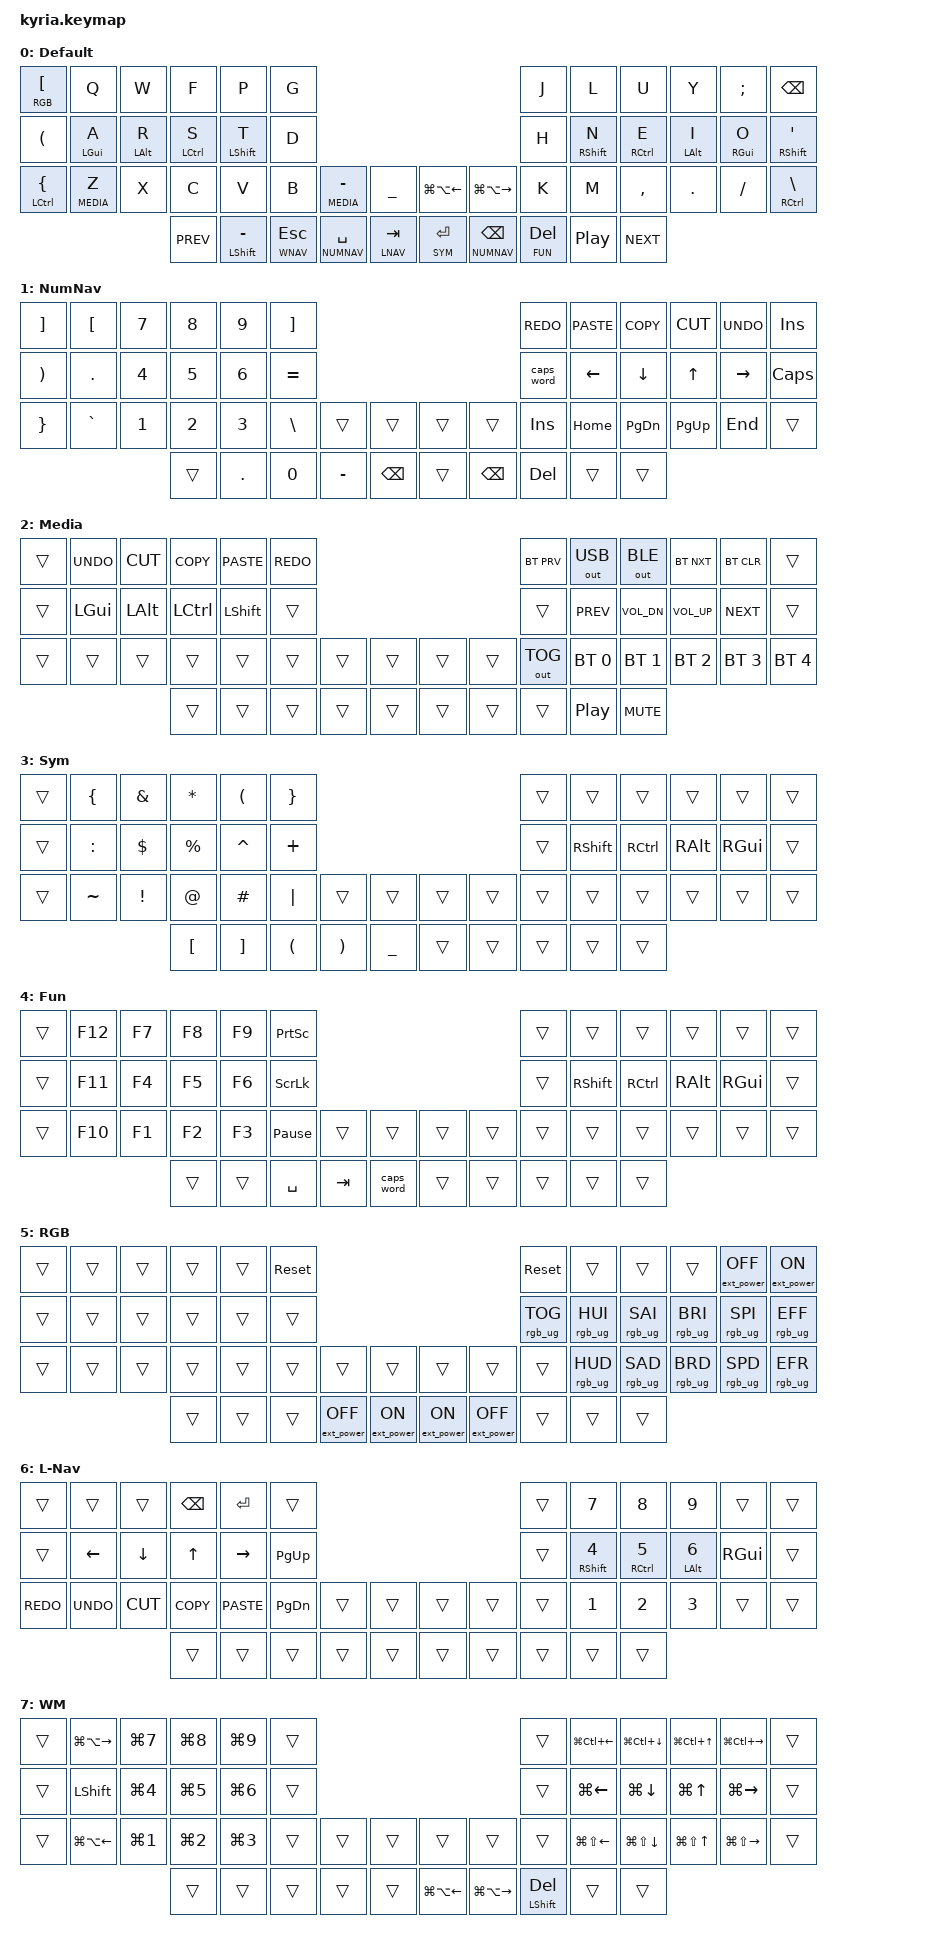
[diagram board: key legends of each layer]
/*
 * Miryoku Changes
 * ---------------
 * - No mouse layer
 * - Second row of thumb keys
 * - Extra column on left and right halves
 * - 2 Extra keys on bottom row each side
 * - DEFAULT
 *    - WNAV where MEDIA was
 *    - MEDIA to thumb top row
 *    - MEDIA replaces BUTTON
 *    - LSHFT and MINUS thumb row
 * - NAV
 *    - Merged with NUM layer, NUMNAV: Num left Nav right
 *    - Reorder Undo/Cut/Copy/Paste to match ZXCV
 *    - Move INS and CAPS to outer column bc rare keys, instead have browser back and forward
 *    - Add nav-swap for one-handed editing with mouse selection
 *    - Add BSPC and RET
 *    - Cut/Copy/Paste/Undo/Redo on left side as well
 * - FUN
 *    - caps_word thumb
 * - NUM
 *    - BSPC on left thumb
 *    - Replace SEMI with DOT bc its in an awful location and dont press SEMI when typing numbers
 *
 * Notes
 * -----
 * - Intentionally using Left Alt on the right because using software-side Colemak swap remaps this key sometimes
 *    - For linux, I have the software fix in place but doing this just in case for other OS's.
 *    - Not sure of any keybindings that rely on this directionality? Everything works with LA though so why not
 * - I have a strong dislike for Miryoku chosing to place Space/Tab on left and Backspace/Return on right along with no arrow keys on the left
 *    - I think this is motivated by gaming? I cant think of a reason
 *    - This seriously limits single hand operation when using mouse in the browser
 *    - I fear my muscle memory would make fixing this uncomfortable so a lot of my changes are trying to monkey patch this
 *
 *
 * Spaces Available for remaps
 * ---------------------------
 * - Default layer: 
 *    - Top right corner is BSPC, completely unused
 *    - DEL thumb key: just a rare key in a valuable place
 *    - Top row thumb keys on right
 *    - Tab is in a valuable place but a rare-ish key (editors autoindent or I use bindings)
 *      - I use tab for cycling selections/inputs in browser without mouse, so could be on the right hand, left is more valuable to me
 *    - 2 leftmost keys on bottom row, layer key could have a tap behavior and F2 is now obsolete
 * - BUTTON layer: completely unused
 * 
 * TODO
 * ----
 * - Make BSPC repeatable
 * - caps_word is messed up since O on colemak is SEMI on Qwerty, causing it to exit
 * - Button layer for Miryoku is really what I was doing with the LNAV layer, probably move that here
 * - Python script for keymap parsing should instead use an AST parser
 * - Python script for keymap parsing needs to be fixed for JSON output
 * - SYM: consider stacking LPAR/RPAR and LBKT/RBKT on thumb rows
 * - Tap-Dance for <C-s-[>
 * - Nav and Num can be merged after wm bindings are confirmed -> LNAVNUM and NAVNUM
 * - Cross Platform Compat:
 *   - On BT output switch, WM layer should change
 *   - Or, manually switchable default layer to support multiple WM versions
 *
 * Improvements
 * ------------
 * - TAB on DEFAULT: rare key, valuable position
 * - UNDER: common key, would like on DEFAULT
 * - LBRC/RBRC: common key, pinky outer column is so uncomfortable.
 * - Bracket, Brace, Paran: Needs another redesign. Simply uncomfortable
 */

#include <../boards/shields/kyria/boards/nice_nano.overlay>
#include <behaviors.dtsi>
#include <dt-bindings/zmk/keys.h>
#include <dt-bindings/zmk/bt.h>
#include <dt-bindings/zmk/ext_power.h>
#include <dt-bindings/zmk/outputs.h>
#include <dt-bindings/zmk/rgb.h>

#define DEFAULT 0
// Merge Num and Nav (Num left, Nav righ)
#define NUMNAV 1
// Skip Mouse layer...
// Skip BUTTON layer...
#define MEDIA 2
#define SYM 4
#define FUN 5
#define RGB 6
#define LNAV 7 // left hand nav
#define WNAV 8 // window manager

// Keypress Definitions ====================================
// Window Manager ------------------------------------------
// switching groups/workspaces
#define wm_next LG(LA(RIGHT)) // window manager next group/workspace
#define wm_prev LG(LA(LEFT))  // window manager prev group/workspace
#define wm1 LG(N1)
#define wm2 LG(N2)
#define wm3 LG(N3)
#define wm4 LG(N4)
#define wm5 LG(N5)
#define wm6 LG(N6)
#define wm7 LG(N7)
#define wm8 LG(N8)
#define wm9 LG(N9)
#define wm0 LG(N0)
#define wm0 LG(N0)

// window focus
#define wm_l LG(LEFT)         // wm focus window left
#define wm_d LG(DOWN)         // wm focus window down
#define wm_u LG(UP)           // wm focus window up
#define wm_r LG(RIGHT)        // wm focus window right

// window sizing
#define wm_sz_l LG(LC(LEFT))  // wm window resize left
#define wm_sz_d LG(LC(DOWN))  // wm window resize down
#define wm_sz_u LG(LC(UP))    // wm window resize up
#define wm_sz_r LG(LC(RIGHT)) // wm window resize right

// window moving
#define wm_mv_l LG(LS(LEFT))  // wm window move window left
#define wm_mv_d LG(LS(DOWN))  // wm window move window down
#define wm_mv_u LG(LS(UP))    // wm window move window up
#define wm_mv_r LG(LS(RIGHT)) // wm window move window right


&mt {
	flavor = "tap-preferred";
};

&lt {
	flavor = "tap-preferred";
};

/ {

	keymap { 
		compatible = "zmk,keymap";

		default_layer {
			label = "Default";
			bindings = <
    &lt RGB LBKT    &kp Q         &kp W      &kp F         &kp P           &kp G                                                                                  &kp J       &kp L       &kp U         &kp Y       &kp SEMI        &kp BSPC
    &kp LPAR        &mt LGUI A    &mt LALT R &mt LCTRL S   &mt LSHFT T     &kp D                                                                                  &kp H       &mt RSHFT N &mt RCTRL E   &mt LALT I  &mt RGUI O      &mt RSHFT SQT
    &mt LCTRL LBRC  &lt MEDIA Z   &kp X      &kp C         &kp V           &kp B        &lt MEDIA MINUS &kp UNDER                 &kp wm_prev   &kp wm_next       &kp K       &kp M       &kp COMMA     &kp DOT     &kp FSLH        &mt RCTRL BSLH
                                             &kp C_PREV    &mt LSHFT MINUS &lt WNAV ESC &lt NUMNAV SPACE   &lt LNAV TAB           &lt SYM RET   &lt NUMNAV BSPC   &lt FUN DEL &kp C_PP    &kp C_NEXT
			>;
		};

		num_nav_layer {
			label = "NumNav";
			bindings = <
    &kp RBKT       &kp LBKT       &kp N7     &kp N8         &kp N9      &kp RBKT                                                                 &kp K_REDO     &kp K_PASTE &kp K_COPY    &kp K_CUT   &kp K_UNDO   &kp INSERT
    &kp RPAR       &kp DOT        &kp N4     &kp N5         &kp N6      &kp EQUAL                                                                &caps_word     &kp LEFT    &kp DOWN      &kp UP      &kp RIGHT    &kp CAPS    
    &kp RBRC       &kp GRAVE      &kp N1     &kp N2         &kp N3      &kp BSLH      &trans        &trans              &trans      &trans       &kp INSERT     &kp HOME    &kp PAGE_DOWN &kp PAGE_UP &kp END      &trans
                                             &trans         &kp DOT     &kp N0        &kp MINUS     &kp BSPC            &trans      &kp BSPC     &kp DEL        &trans      &trans
			>;
    };

    // SKIP MOUSE LAYER...
    // SKIP BUTTON LAYER...
		media_layer {
			label = "Media";
			bindings = <
    &trans          &kp K_UNDO     &kp K_CUT  &kp K_COPY    &kp K_PASTE &kp K_REDO                                                              &bt BT_PRV   &out OUT_USB &out OUT_BLE &bt BT_NXT   &bt BT_CLR    &trans
    &trans          &kp LGUI       &kp LALT   &kp LCTRL     &kp LSHFT   &trans                                                                  &trans       &kp C_PREV   &kp C_VOL_DN &kp C_VOL_UP &kp C_NEXT    &trans
    &trans          &trans         &trans     &trans        &trans      &trans        &trans        &trans             &trans      &trans       &out OUT_TOG &bt BT_SEL 0 &bt BT_SEL 1 &bt BT_SEL 2 &bt BT_SEL 3  &bt BT_SEL 4
                                              &trans        &trans      &trans        &trans        &trans             &trans      &trans       &trans       &kp C_PP     &kp C_MUTE
			>;
		};

//		numpad_layer {
//			label = "Num";
//			bindings = <
//    &kp RBKT       &kp LBKT       &kp N7     &kp N8         &kp N9      &kp RBKT                                                                &trans      &trans        &trans        &trans      &trans         &trans
//    &kp RPAR       &kp DOT        &kp N4     &kp N5         &kp N6      &kp EQUAL                                                               &trans      &kp RSHFT     &kp RCTRL     &kp RALT    &kp RGUI       &trans
//    &kp RBRC       &kp GRAVE      &kp N1     &kp N2         &kp N3      &kp BSLH      &trans        &trans            &trans       &trans       &trans      &trans        &trans        &trans      &trans         &trans
//                                             &trans         &kp DOT     &kp N0        &kp MINUS     &kp BSPC          &trans       &trans       &trans      &trans        &trans
//			>;
//		};

		symbol_layer { 
			label = "Sym";
			bindings = <
    &trans         &kp LBRC   &kp AMPS       &kp STAR       &kp LPAR    &kp RBRC                                                                &trans      &trans        &trans        &trans      &trans         &trans
    &trans         &kp COLON  &kp DOLLAR     &kp PRCNT      &kp CARET   &kp PLUS                                                                &trans      &kp RSHFT     &kp RCTRL     &kp RALT    &kp RGUI       &trans
    &trans         &kp TILDE  &kp EXCL       &kp AT         &kp HASH    &kp PIPE      &trans        &trans            &trans       &trans       &trans      &trans        &trans        &trans      &trans         &trans
                                             &kp LBKT       &kp RBKT    &kp LPAR      &kp RPAR      &kp UNDER         &trans       &trans       &trans      &trans        &trans
			>;
		};

		fun_layer {
			label = "Fun";
			bindings = <
    &trans         &kp F12      &kp F7     &kp F8         &kp F9      &kp PSCRN                                                                  &trans      &trans        &trans        &trans      &trans         &trans
    &trans         &kp F11      &kp F4     &kp F5         &kp F6      &kp SLCK                                                                   &trans      &kp RSHFT     &kp RCTRL     &kp RALT    &kp RGUI       &trans
    &trans         &kp F10      &kp F1     &kp F2         &kp F3      &kp PAUSE_BREAK  &trans        &trans            &trans       &trans       &trans      &trans        &trans        &trans      &trans         &trans
                                           &trans         &trans      &kp SPACE        &kp TAB       &caps_word        &trans       &trans       &trans      &trans        &trans
			>;
		};

		rgb_layer {
			label = "RGB";
			bindings = <
    &trans        &trans       &trans      &trans         &trans      &sys_reset                                                                                         &sys_reset      &trans          &trans          &trans          &ext_power EP_OFF &ext_power EP_ON
    &trans        &trans       &trans      &trans         &trans      &trans                                                                                             &rgb_ug RGB_TOG &rgb_ug RGB_HUI &rgb_ug RGB_SAI &rgb_ug RGB_BRI &rgb_ug RGB_SPI &rgb_ug RGB_EFF
    &trans        &trans       &trans      &trans         &trans      &trans      &trans            &trans                           &trans            &trans            &trans          &rgb_ug RGB_HUD &rgb_ug RGB_SAD &rgb_ug RGB_BRD &rgb_ug RGB_SPD &rgb_ug RGB_EFR
                                           &trans         &trans      &trans      &ext_power EP_OFF &ext_power EP_ON                 &ext_power EP_ON  &ext_power EP_OFF &trans          &trans          &trans
			>;
		};

		lnav_layer {
			label = "L-Nav";
			bindings = <
    &trans        &trans       &trans      &kp BSPC       &kp RET     &trans                                                                     &trans          &kp N7          &kp N8         &kp N9          &trans          &trans
    &trans        &kp LEFT     &kp DOWN    &kp UP         &kp RIGHT   &kp PG_UP                                                                  &trans          &mt RSHFT N4    &mt RCTRL N5   &mt LALT N6     &kp RGUI        &trans
    &kp K_REDO    &kp K_UNDO   &kp K_CUT   &kp K_COPY     &kp K_PASTE &kp PG_DN        &trans        &trans             &trans      &trans       &trans          &kp N1          &kp N2         &kp N3          &trans          &trans
                                           &trans         &trans      &trans           &trans        &trans             &trans      &trans       &trans          &trans          &trans
			>;
		};

		wm_layer {
			label = "WM";
			bindings = <
    &trans        &kp wm_next  &kp wm7     &kp wm8        &kp wm9     &trans                                                                     &trans          &kp wm_sz_l     &kp wm_sz_d     &kp wm_sz_u     &kp wm_sz_r     &trans
    &trans        &kp LSHFT    &kp wm4     &kp wm5        &kp wm6     &trans                                                                     &trans          &kp wm_l        &kp wm_d        &kp wm_u        &kp wm_r        &trans
    &trans        &kp wm_prev  &kp wm1     &kp wm2 	      &kp wm3     &trans           &trans        &trans             &trans      &trans       &trans          &kp wm_mv_l     &kp wm_mv_d     &kp wm_mv_u     &kp wm_mv_r     &trans
                                           &trans         &trans      &trans           &trans        &trans             &kp wm_prev &kp wm_next  &mt LSHFT DEL   &trans          &trans
			>;
		};
	};
};
